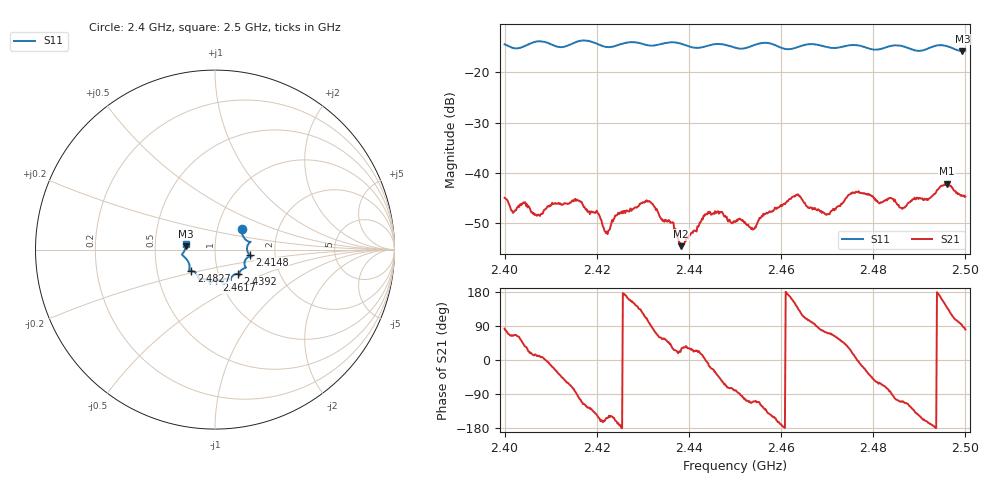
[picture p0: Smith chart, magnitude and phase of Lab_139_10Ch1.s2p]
# Hz S RI R 50
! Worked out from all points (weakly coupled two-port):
!   601 points, 2.4 GHz to 2.5 GHz, reference 50 ohm
!   highest |S21| = -42.14 dB at 2.496 GHz (marker M1); lowest = -54.6 dB at 2.4383 GHz (marker M2)
!   lowest |S11| = -15.7 dB at 2.4993 GHz (marker M3), VSWR 1.39, Z = 36 + j1.46 ohm
!   |S11| at or under -10 dB: start of sweep to end of sweep
!   S12 and S22 are empty: the file has one direction only
!   S11 on the Smith chart (normalised r, x): 2.4 GHz: 1.31, +0.32; 2.4148 GHz: 1.47, -0.09; 2.4392 GHz: 1.24, -0.35; 2.4617 GHz: 0.96, -0.34; 2.4827 GHz: 0.75, -0.18; 2.5 GHz: 0.72, +0.05
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2.4e9  0.151 0.1158  0.00071 0.00559  0 0  0 0
2.407167e9  0.199 0.0431  0.00372 0.000771  0 0  0 0
2.414833e9  0.1923 -0.0305  0.00135 -0.00514  0 0  0 0
2.416667e9  0.2035 -0.0387  -0.00175 -0.00485  0 0  0 0
2.422167e9  0.169 -0.0586  -0.00232 -0.00118  0 0  0 0
2.430333e9  0.1569 -0.1068  -0.00223 0.00453  0 0  0 0
2.433333e9  0.1364 -0.1302  0.00176 0.00363  0 0  0 0
2.438333e9  0.1334 -0.1388  0.00163 0.000887  0 0  0 0
2.439167e9  0.1281 -0.1358  0.00174 0.00114  0 0  0 0
2.444e9  0.0892 -0.1607  0.00384 -0.000443  0 0  0 0
2.45e9  0.0711 -0.1612  0.000569 -0.00318  0 0  0 0
2.454e9  0.0396 -0.1815  -0.000912 -0.00258  0 0  0 0
2.461667e9  0.00815 -0.1699  -0.00532 0.000878  0 0  0 0
2.466667e9  -0.0266 -0.1894  -0.00072 0.00443  0 0  0 0
2.470167e9  -0.0393 -0.1732  0.00131 0.00364  0 0  0 0
2.476333e9  -0.089 -0.1642  0.00647 0.00038  0 0  0 0
2.482667e9  -0.1322 -0.1176  0.00168 -0.00508  0 0  0 0
2.483333e9  -0.1377 -0.117  0.00105 -0.00542  0 0  0 0
2.4865e9  -0.1438 -0.1115  -0.00151 -0.0042  0 0  0 0
2.496e9  -0.181 -0.0228  -0.00587 0.00515  0 0  0 0
2.499333e9  -0.162 0.0197  -2.88e-05 0.00588  0 0  0 0
2.5e9  -0.1618 0.0317  0.000951 0.00573  0 0  0 0
